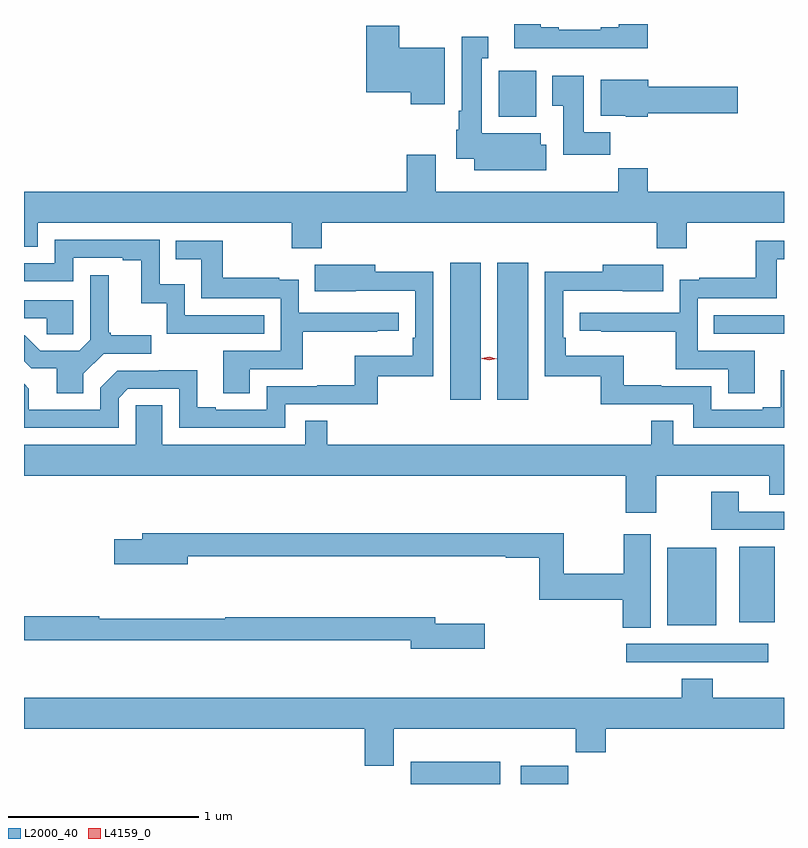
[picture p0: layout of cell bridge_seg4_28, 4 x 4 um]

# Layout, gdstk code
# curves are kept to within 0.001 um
import gdstk
lib = gdstk.Library(unit=1e-6, precision=1e-09)
def R(c, l, rs):  # rectangles x0, y0, x1, y1
    for r in rs: c.add(gdstk.rectangle(r[:2], r[2:], *l))
def P(c, l, *ps):  # polygons
    for p in ps: c.add(gdstk.Polygon(p, *l))
L2000_40 = (2000, 40)
L4159_0 = (4159, 0)

bridge_seg4_28 = lib.new_cell('bridge_seg4_28')
R(bridge_seg4_28, L2000_40, [(997.4,808.518,997.87,808.636), (997.979,808.518,998.228,808.615), (998.535,809.16,999.28,809.256), (998.75,809.354,999.007,809.761), (999.128,809.369,999.316,809.767), (997.607,810.54,997.768,811.261), (997.856,810.54,998.017,811.261), (998.995,810.888,999.364,810.984), (997.862,812.03,998.059,812.272)])
P(bridge_seg4_28, L2000_40, [(998.648,812.518),(998.495,812.518),(998.495,812.5),(998.399,812.5),(998.399,812.487),(998.179,812.487),(998.179,812.5),(998.083,812.5),(998.083,812.518),(997.943,812.518),(997.943,812.39),(998.648,812.39)],
  [(997.579,812.392),(997.339,812.392),(997.339,812.508),(997.166,812.508),(997.166,812.159),(997.4,812.159),(997.4,812.096),(997.579,812.096)],
  [(998.113,811.883),(998.083,811.883),(998.083,811.942),(997.774,811.942),(997.774,812.339),(997.807,812.339),(997.807,812.452),(997.667,812.452),(997.667,812.062),(997.652,812.062),(997.652,811.962),(997.64,811.962),(997.64,811.808),(997.733,811.808),(997.733,811.748),(998.113,811.748)],
  [(998.45,811.948),(998.311,811.948),(998.311,812.245),(998.144,812.245),(998.144,812.089),(998.201,812.089),(998.201,811.83),(998.45,811.83)],
  [(998.646,812.047),(999.121,812.047),(999.121,812.189),(998.65,812.189),(998.65,812.224),(998.399,812.224),(998.399,812.036),(998.532,812.036),(998.532,812.03),(998.646,812.03)],
  [(998.491,811.76),(998.491,811.636),(997.531,811.636),(997.531,811.831),(997.379,811.831),(997.379,811.636),(995.364,811.636),(995.364,811.345),(995.436,811.345),(995.436,811.472),(996.772,811.472),(996.772,811.337),(996.932,811.337),(996.932,811.472),(998.693,811.472),(998.693,811.337),(998.853,811.337),(998.853,811.472),(999.364,811.472),(999.364,811.636),(998.648,811.636),(998.648,811.76)],
  [(996.629,810.984),(996.21,810.984),(996.21,811.147),(996.078,811.147),(996.078,811.383),(995.526,811.383),(995.526,811.26),(995.364,811.26),(995.364,811.164),(995.622,811.164),(995.622,811.287),(995.885,811.287),(995.885,811.275),(995.981,811.275),(995.981,811.049),(996.114,811.049),(996.114,810.888),(996.629,810.888)],
  [(996.553,810.702),(996.83,810.702),(996.83,810.898),(997.223,810.898),(997.223,810.903),(997.336,810.903),(997.336,810.999),(996.81,810.999),(996.81,811.171),(996.707,811.171),(996.707,811.183),(996.409,811.183),(996.409,811.377),(996.163,811.377),(996.163,811.28),(996.298,811.28),(996.298,811.074),(996.714,811.074),(996.714,810.798),(996.413,810.798),(996.413,810.574),(996.553,810.574)],
  [(999.211,810.798),(998.91,810.798),(998.91,811.074),(999.327,811.074),(999.327,811.28),(999.364,811.28),(999.364,811.377),(999.216,811.377),(999.216,811.183),(998.917,811.183),(998.917,811.171),(998.814,811.171),(998.814,810.999),(998.289,810.999),(998.289,810.903),(998.401,810.903),(998.401,810.898),(998.794,810.898),(998.794,810.702),(999.071,810.702),(999.071,810.574),(999.211,810.574)],
  [(999.364,810.695),(999.347,810.695),(999.347,810.502),(999.251,810.502),(999.251,810.489),(998.982,810.489),(998.982,810.612),(998.717,810.612),(998.717,810.617),(998.521,810.617),(998.521,810.772),(998.216,810.772),(998.216,810.868),(998.202,810.868),(998.202,811.113),(998.515,811.113),(998.515,811.112),(998.729,811.112),(998.729,811.252),(998.411,811.252),(998.411,811.214),(998.106,811.214),(998.106,810.663),(998.4,810.663),(998.4,810.516),(998.886,810.516),(998.886,810.393),(999.364,810.393)],
  [(995.862,810.549),(995.91,810.597),(996.18,810.597),(996.18,810.393),(996.738,810.393),(996.738,810.516),(997.225,810.516),(997.225,810.663),(997.518,810.663),(997.518,811.214),(997.213,811.214),(997.213,811.252),(996.895,811.252),(996.895,811.112),(997.422,811.113),(997.422,810.868),(997.409,810.868),(997.409,810.772),(997.104,810.772),(997.104,810.617),(996.907,810.617),(996.907,810.612),(996.642,810.612),(996.642,810.489),(996.373,810.489),(996.373,810.502),(996.277,810.502),(996.277,810.695),(996.072,810.695),(996.072,810.693),(995.856,810.693),(995.766,810.603),(995.766,810.489),(995.389,810.489),(995.389,810.599),(995.364,810.624),(995.364,810.393),(995.862,810.393)],
  [(995.677,810.676),(995.784,810.783),(996.034,810.783),(996.034,810.88),(995.821,810.88),(995.821,810.892),(995.809,810.892),(995.809,811.195),(995.712,811.195),(995.712,810.855),(995.655,810.798),(995.449,810.798),(995.368,810.879),(995.364,810.879),(995.364,810.744),(995.402,810.706),(995.537,810.706),(995.537,810.574),(995.677,810.574)],
  [(995.622,811.065),(995.364,811.065),(995.364,810.969),(995.485,810.969),(995.485,810.885),(995.622,810.885)],
  [(998.781,810.431),(998.665,810.431),(998.665,810.304),(996.959,810.304),(996.959,810.431),(996.843,810.431),(996.843,810.304),(996.091,810.304),(996.091,810.512),(995.952,810.512),(995.952,810.304),(995.364,810.304),(995.364,810.14),(998.531,810.14),(998.531,809.946),(998.691,809.946),(998.691,810.14),(999.287,810.14),(999.287,810.041),(999.364,810.041),(999.364,810.304),(998.781,810.304)],
  [(999.364,809.952),(999.127,809.952),(999.127,810.055),(998.98,810.055),(998.98,809.856),(999.364,809.856)],
  [(998.662,809.833),(998.521,809.833),(998.521,809.624),(998.206,809.624),(998.206,809.839),(995.987,809.839),(995.987,809.805),(995.838,809.805),(995.838,809.675),(996.226,809.675),(996.226,809.718),(997.9,809.718),(997.9,809.71),(998.077,809.71),(998.077,809.488),(998.516,809.488),(998.516,809.341),(998.662,809.341)],
  [(997.789,809.361),(997.528,809.361),(997.528,809.395),(996.424,809.395),(996.424,809.387),(995.759,809.387),(995.759,809.402),(995.364,809.402),(995.364,809.274),(997.4,809.274),(997.4,809.231),(997.789,809.231)],
  [(997.309,808.808),(998.269,808.808),(998.269,808.684),(998.426,808.684),(998.426,808.808),(999.364,808.808),(999.364,808.972),(998.99,808.972),(998.99,809.071),(998.825,809.071),(998.825,808.972),(995.364,808.972),(995.364,808.808),(997.157,808.808),(997.157,808.614),(997.309,808.614)])
P(bridge_seg4_28, L4159_0, [(997.812,810.747),(997.772,810.757),(997.772,810.757),(997.772,810.758),(997.812,810.767),(997.852,810.757),(997.852,810.757),(997.852,810.757)])

lib.write_gds('bridge_seg4_28.gds')
